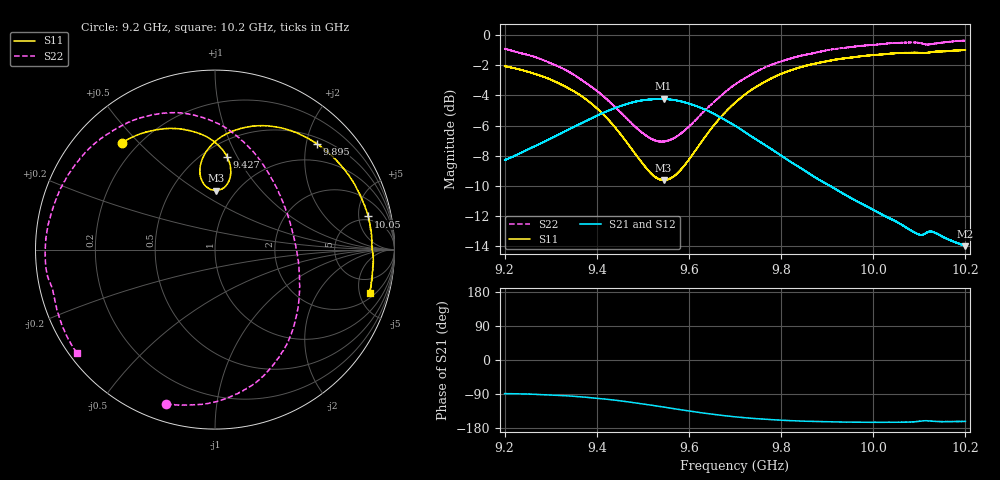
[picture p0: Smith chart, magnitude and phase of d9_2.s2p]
!Agilent Technologies,N5242A,MY51221714,A.09.90.19
!Agilent N5242A: A.09.90.19
!Date: Tuesday, March 26, 2024 16:24:45
!Correction: S11(Full 2 Port(1,2))
!S21(Full 2 Port(1,2))
!S12(Full 2 Port(1,2))
!S22(Full 2 Port(1,2))
!S2P File: Measurements: S11, S21, S12, S22:
# Hz S  dB  R 50
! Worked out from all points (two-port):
!   16001 points, 9.2 GHz to 10.2 GHz, reference 50 ohm
!   highest |S21| = -4.22 dB at 9.545 GHz (marker M1); lowest = -14.0 dB at 10.2 GHz (marker M2)
!   |S21| within 3 dB of the highest: 9.276118 GHz to 9.276483 GHz (365.2 kHz wide, 0.00394 % of centre); 9.277 GHz to 9.761 GHz (483.9 MHz wide, 5.08 % of centre)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
!   lowest |S11| = -9.7 dB at 9.545 GHz (marker M3), VSWR 1.98, Z = 40.6 + j30 ohm
!   |S11| at or under -10 dB: nowhere
!   |S22| runs from -7.1 to -0.3 dB; largest |S21 - S12| = 0.0085
!   S11 on the Smith chart (normalised r, x): 9.2 GHz: 0.14, +0.45; 9.427 GHz: 0.64, +0.91; 9.895 GHz: 0.62, +2.20; 10.05 GHz: 4.29, +6.58; 10.2 GHz: 2.60, -6.24
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9.2e9  -2.05 131.1  -8.30 -88.7  -8.29 -89.4  -0.89 -107.5
9.279312e9  -2.70 113.4  -7.17 -91.2  -7.16 -91.8  -1.58 -86.0
9.325562e9  -3.31 103.0  -6.47 -93.9  -6.44 -94.5  -2.20 -73.4
9.366688e9  -4.03 94.0  -5.85 -97.3  -5.83 -98.0  -2.96 -61.7
9.426875e9  -5.68 82.5  -4.99 -104.3  -4.99 -105.0  -4.41 -42.4
9.47775e9  -7.65 78.1  -4.46 -112.0  -4.47 -112.7  -5.93 -21.4
9.533375e9  -9.55 85.9  -4.24 -122.0  -4.23 -122.6  -7.03 10.0
9.544875e9  -9.62 89.2  -4.22 -124.1  -4.23 -124.8  -7.06 17.4
9.545125e9  -9.65 89.2  -4.25 -124.2  -4.24 -124.7  -7.07 17.4
9.577438e9  -9.10 97.5  -4.36 -130.3  -4.34 -130.9  -6.63 36.8
9.626625e9  -7.12 101.0  -4.84 -139.1  -4.83 -139.7  -5.26 61.0
9.7e9  -4.49 90.5  -6.01 -149.8  -6.00 -150.4  -3.26 85.9
9.780375e9  -2.85 72.6  -7.60 -157.4  -7.61 -158.2  -1.94 107.5
9.826375e9  -2.27 61.8  -8.54 -160.3  -8.54 -160.9  -1.49 119.4
9.866688e9  -1.93 52.6  -9.31 -162.1  -9.31 -162.6  -1.20 129.4
9.894938e9  -1.75 46.2  -9.83 -162.8  -9.81 -163.3  -1.01 136.8
9.967875e9  -1.41 30.4  -11.10 -164.2  -11.08 -164.7  -0.72 155.5
1.003338e10  -1.24 16.7  -12.15 -164.3  -12.16 -164.9  -0.54 172.2
1.005456e10  -1.20 12.2  -12.49 -164.3  -12.49 -164.7  -0.50 177.6
1.009944e10  -1.17 3.3  -13.27 -161.9  -13.27 -162.4  -0.51 -171.1
1.019975e10  -0.98 -15.5  -14.03 -162.1  -14.02 -162.6  -0.35 -143.4
1.02e10  -0.97 -15.6  -14.02 -162.1  -14.02 -162.7  -0.35 -143.3
